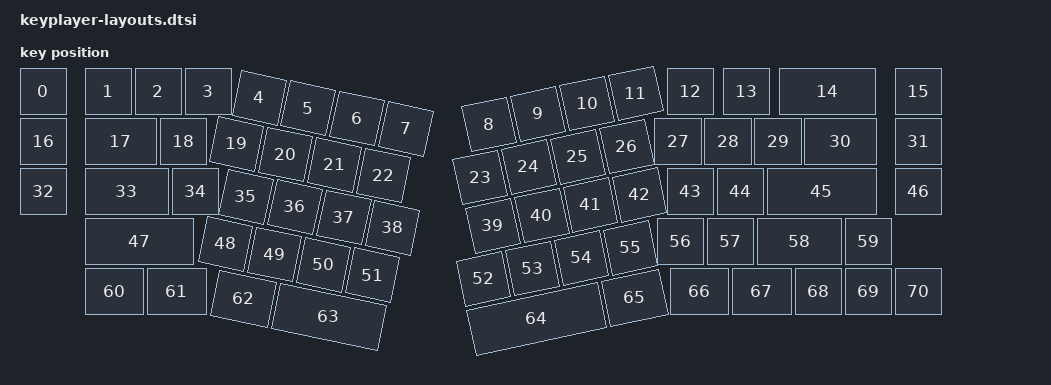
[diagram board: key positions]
#include <physical_layouts.dtsi>

/ {
    physical_layout0: physical_layout_0 {
        compatible = "zmk,physical-layout";
        display-name = "keyplayer";
        kscan = <&kscan0>;
        transform = <&matrix_transform0>;
        
        keys  //                     w   h    x    y     rot    rx    ry
            = <&key_physical_attrs 100 100    0    0       0     0     0>
            , <&key_physical_attrs 100 100  130    0       0     0     0>
            , <&key_physical_attrs 100 100  230    0       0     0     0>
            , <&key_physical_attrs 100 100  330    0       0     0     0>
            , <&key_physical_attrs 100 100  465    5    1200   460 (-95)>
            , <&key_physical_attrs 100 100  565    5    1200   460 (-95)>
            , <&key_physical_attrs 100 100  665    5    1200   460 (-95)>
            , <&key_physical_attrs 100 100  765    5    1200   460 (-95)>
            , <&key_physical_attrs 100 100  920   95 (-1200)   820   262>
            , <&key_physical_attrs 100 100 1020   95 (-1200)   820   262>
            , <&key_physical_attrs 100 100 1120   95 (-1200)   820   262>
            , <&key_physical_attrs 100 100 1220   95 (-1200)   820   262>
            , <&key_physical_attrs 100 100 1295    0       0     0     0>
            , <&key_physical_attrs 100 100 1407    0       0     0     0>
            , <&key_physical_attrs 200 100 1518    0       0     0     0>
            , <&key_physical_attrs 100 100 1751    0       0     0     0>
            , <&key_physical_attrs 100 100    0  100       0     0     0>
            , <&key_physical_attrs 150 100  130  100       0     0     0>
            , <&key_physical_attrs 100 100  280  100       0     0     0>
            , <&key_physical_attrs 100 100  440  105    1200   460 (-95)>
            , <&key_physical_attrs 100 100  540  105    1200   460 (-95)>
            , <&key_physical_attrs 100 100  640  105    1200   460 (-95)>
            , <&key_physical_attrs 100 100  740  105    1200   460 (-95)>
            , <&key_physical_attrs 100 100  880  195 (-1200)   820   262>
            , <&key_physical_attrs 100 100  980  195 (-1200)   820   262>
            , <&key_physical_attrs 100 100 1080  195 (-1200)   820   262>
            , <&key_physical_attrs 100 100 1180  195 (-1200)   820   262>
            , <&key_physical_attrs 100 100 1270  100       0     0     0>
            , <&key_physical_attrs 100 100 1370  100       0     0     0>
            , <&key_physical_attrs 100 100 1470  100       0     0     0>
            , <&key_physical_attrs 150 100 1570  100       0     0     0>
            , <&key_physical_attrs 100 100 1750  100       0     0     0>
            , <&key_physical_attrs 100 100    0  200       0     0     0>
            , <&key_physical_attrs 175 100  130  200       0     0     0>
            , <&key_physical_attrs 100 100  305  200       0     0     0>
            , <&key_physical_attrs 100 100  480  204    1200   460 (-95)>
            , <&key_physical_attrs 100 100  580  204    1200   460 (-95)>
            , <&key_physical_attrs 100 100  680  204    1200   460 (-95)>
            , <&key_physical_attrs 100 100  780  204    1200   460 (-95)>
            , <&key_physical_attrs 100 100  885  295 (-1200)   820   262>
            , <&key_physical_attrs 100 100  985  295 (-1200)   820   262>
            , <&key_physical_attrs 100 100 1085  295 (-1200)   820   262>
            , <&key_physical_attrs 100 100 1185  295 (-1200)   820   262>
            , <&key_physical_attrs 100 100 1295  200       0     0     0>
            , <&key_physical_attrs 100 100 1395  200       0     0     0>
            , <&key_physical_attrs 225 100 1495  200       0     0     0>
            , <&key_physical_attrs 100 100 1750  200       0     0     0>
            , <&key_physical_attrs 225 100  130  300       0     0     0>
            , <&key_physical_attrs 100 100  460  305    1200   460 (-95)>
            , <&key_physical_attrs 100 100  560  305    1200   460 (-95)>
            , <&key_physical_attrs 100 100  660  305    1200   460 (-95)>
            , <&key_physical_attrs 100 100  760  305    1200   460 (-95)>
            , <&key_physical_attrs 100 100  845  395 (-1200)   820   262>
            , <&key_physical_attrs 100 100  945  395 (-1200)   820   262>
            , <&key_physical_attrs 100 100 1045  395 (-1200)   820   262>
            , <&key_physical_attrs 100 100 1145  395 (-1200)   820   262>
            , <&key_physical_attrs 100 100 1275  300       0     0     0>
            , <&key_physical_attrs 100 100 1375  300       0     0     0>
            , <&key_physical_attrs 175 100 1475  300       0     0     0>
            , <&key_physical_attrs 100 100 1650  300       0     0     0>
            , <&key_physical_attrs 125 100  130  400       0     0     0>
            , <&key_physical_attrs 125 100  255  400       0     0     0>
            , <&key_physical_attrs 125 100  505  405    1200   460 (-95)>
            , <&key_physical_attrs 225 100  630  405    1200   460 (-95)>
            , <&key_physical_attrs 275 100  845  495 (-1200)   820   262>
            , <&key_physical_attrs 125 100 1120  495 (-1200)   820   262>
            , <&key_physical_attrs 125 100 1300  400       0     0     0>
            , <&key_physical_attrs 125 100 1425  400       0     0     0>
            , <&key_physical_attrs 100 100 1550  400       0     0     0>
            , <&key_physical_attrs 100 100 1650  400       0     0     0>
            , <&key_physical_attrs 100 100 1750  400       0     0     0>
            ;
    };
};
